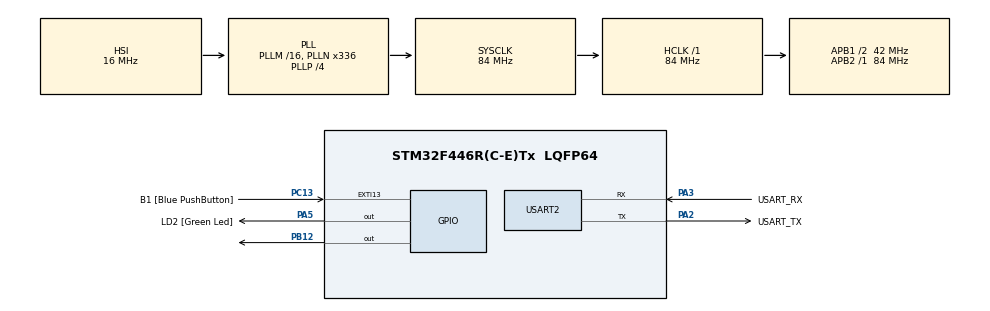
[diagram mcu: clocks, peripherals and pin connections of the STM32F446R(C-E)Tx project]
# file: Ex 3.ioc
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Mcu.Family=STM32F4
Mcu.Name=STM32F446R(C-E)Tx
Mcu.Package=LQFP64
NVIC.EXTI15_10_IRQn=true\:0\:0\:false\:false\:true\:true\:true\:true
NVIC.PriorityGroup=NVIC_PRIORITYGROUP_0
NVIC.TIM2_IRQn=true\:0\:0\:false\:false\:true\:true\:true\:true
PA13.GPIO_Label=TMS
PA13.Mode=Serial_Wire
PA13.Signal=SYS_JTMS-SWDIO
PA14.GPIO_Label=TCK
PA14.Mode=Serial_Wire
PA14.Signal=SYS_JTCK-SWCLK
PA2.GPIO_Label=USART_TX
PA2.Mode=Asynchronous
PA2.Signal=USART2_TX
PA3.GPIO_Label=USART_RX
PA3.Mode=Asynchronous
PA3.Signal=USART2_RX
PA5.GPIO_Label=LD2 [Green Led]
PA5.Signal=GPIO_Output
PB12.Signal=GPIO_Output
PB3.GPIO_Label=SWO
PB3.Signal=SYS_JTDO-SWO
PC13.GPIO_Label=B1 [Blue PushButton]
PC13.GPIO_ModeDefaultEXTI=GPIO_MODE_IT_FALLING
PC13.Signal=GPXTI13
PC14-OSC32_IN.Mode=LSE-External-Oscillator
PC14-OSC32_IN.Signal=RCC_OSC32_IN
PC15-OSC32_OUT.Mode=LSE-External-Oscillator
PC15-OSC32_OUT.Signal=RCC_OSC32_OUT
PH0-OSC_IN.Mode=HSE-External-Oscillator
PH0-OSC_IN.Signal=RCC_OSC_IN
PH1-OSC_OUT.Mode=HSE-External-Oscillator
PH1-OSC_OUT.Signal=RCC_OSC_OUT
ProjectManager.HeapSize=0x200
ProjectManager.StackSize=0x400
ProjectManager.TargetToolchain=STM32CubeIDE
RCC.48MHZClocksFreq_Value=84000000
RCC.AHBFreq_Value=84000000
RCC.APB1CLKDivider=RCC_HCLK_DIV2
RCC.APB1Freq_Value=42000000
RCC.APB1TimFreq_Value=84000000
RCC.APB2Freq_Value=84000000
RCC.APB2TimFreq_Value=84000000
RCC.CortexFreq_Value=84000000
RCC.FLatency-AdvancedSettings=FLASH_LATENCY_2
RCC.HCLKFreq_Value=84000000
RCC.HSE_VALUE=8000000
RCC.HSI_VALUE=16000000
RCC.PLLN=336
RCC.PLLP=RCC_PLLP_DIV4
RCC.SYSCLKFreq_VALUE=84000000
RCC.SYSCLKSource=RCC_SYSCLKSOURCE_PLLCLK
RCC.USBFreq_Value=168000000
RCC.VCOOutputFreq_Value=336000000
TIM2.Period=16800000
USART2.VirtualMode=VM_ASYNC
VP_TIM2_VS_ClockSourceINT.Mode=Internal
board=NUCLEO-F446RE

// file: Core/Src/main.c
/* USER CODE BEGIN Header */
/**
  ******************************************************************************
  * @file           : main.c
  * @brief          : Main program body
  ******************************************************************************
  * @attention
  *
  * Copyright (c) 2025 STMicroelectronics.
  * All rights reserved.
  *
  * This software is licensed under terms that can be found in the LICENSE file
  * in the root directory of this software component.
  * If no LICENSE file comes with this software, it is provided AS-IS.
  *
  ******************************************************************************
  */
/* USER CODE END Header */
#include "main.h"

TIM_HandleTypeDef htim2;

UART_HandleTypeDef huart2;

/* USER CODE BEGIN PV */
uint32_t LED_start_time = 0;
uint8_t LED_flag = 0; // flag to initiate the non blocking delay
/* USER CODE END PV */

void SystemClock_Config(void);
static void MX_GPIO_Init(void);
static void MX_USART2_UART_Init(void);
static void MX_TIM2_Init(void);

/* USER CODE BEGIN 0 */
void myDelay(int input){
	  // delay
	  int millis = 7000 * input;

	  while(millis != 0){
		  millis--;
	  }
}
/* USER CODE END 0 */

int main(void)
{

  /* MCU Configuration--------------------------------------------------------*/

  /* Reset of all peripherals, Initializes the Flash interface and the Systick. */
  HAL_Init();

  /* Configure the system clock */
  SystemClock_Config();

  /* Initialize all configured peripherals */
  MX_GPIO_Init();
  MX_USART2_UART_Init();
  MX_TIM2_Init();
  /* USER CODE BEGIN 2 */
  HAL_TIM_Base_Start_IT(&htim2);
  /* USER CODE END 2 */

  /* Infinite loop */
  while (1)
  {

    /* USER CODE BEGIN 3 */
	if (LED_flag) // check if flag is true
	{
	  if (HAL_GetTick() - LED_start_time >= 500) // check if 500ms has passed
	  {
		HAL_GPIO_WritePin(LD2_GPIO_Port, LD2_Pin, GPIO_PIN_RESET); // LED off
		LED_flag = 0; // reset the flag
	  }
	}
  }
  /* USER CODE END 3 */
}

void SystemClock_Config(void)
{
  RCC_OscInitTypeDef RCC_OscInitStruct = {0};
  RCC_ClkInitTypeDef RCC_ClkInitStruct = {0};

  /** Configure the main internal regulator output voltage
  */
  __HAL_RCC_PWR_CLK_ENABLE();
  __HAL_PWR_VOLTAGESCALING_CONFIG(PWR_REGULATOR_VOLTAGE_SCALE3);

  /** Initializes the RCC Oscillators according to the specified parameters
  * in the RCC_OscInitTypeDef structure.
  */
  RCC_OscInitStruct.OscillatorType = RCC_OSCILLATORTYPE_HSI;
  RCC_OscInitStruct.HSIState = RCC_HSI_ON;
  RCC_OscInitStruct.HSICalibrationValue = RCC_HSICALIBRATION_DEFAULT;
  RCC_OscInitStruct.PLL.PLLState = RCC_PLL_ON;
  RCC_OscInitStruct.PLL.PLLSource = RCC_PLLSOURCE_HSI;
  RCC_OscInitStruct.PLL.PLLM = 16;
  RCC_OscInitStruct.PLL.PLLN = 336;
  RCC_OscInitStruct.PLL.PLLP = RCC_PLLP_DIV4;
  RCC_OscInitStruct.PLL.PLLQ = 2;
  RCC_OscInitStruct.PLL.PLLR = 2;
  if (HAL_RCC_OscConfig(&RCC_OscInitStruct) != HAL_OK)
  {
    Error_Handler();
  }

  /** Initializes the CPU, AHB and APB buses clocks
  */
  RCC_ClkInitStruct.ClockType = RCC_CLOCKTYPE_HCLK|RCC_CLOCKTYPE_SYSCLK
                              |RCC_CLOCKTYPE_PCLK1|RCC_CLOCKTYPE_PCLK2;
  RCC_ClkInitStruct.SYSCLKSource = RCC_SYSCLKSOURCE_PLLCLK;
  RCC_ClkInitStruct.AHBCLKDivider = RCC_SYSCLK_DIV1;
  RCC_ClkInitStruct.APB1CLKDivider = RCC_HCLK_DIV2;
  RCC_ClkInitStruct.APB2CLKDivider = RCC_HCLK_DIV1;

  if (HAL_RCC_ClockConfig(&RCC_ClkInitStruct, FLASH_LATENCY_2) != HAL_OK)
  {
    Error_Handler();
  }
}

static void MX_TIM2_Init(void)
{

  TIM_ClockConfigTypeDef sClockSourceConfig = {0};
  TIM_MasterConfigTypeDef sMasterConfig = {0};

  htim2.Instance = TIM2;
  htim2.Init.Prescaler = 0;
  htim2.Init.CounterMode = TIM_COUNTERMODE_UP;
  htim2.Init.Period = 16800000;
  htim2.Init.ClockDivision = TIM_CLOCKDIVISION_DIV1;
  htim2.Init.AutoReloadPreload = TIM_AUTORELOAD_PRELOAD_DISABLE;
  if (HAL_TIM_Base_Init(&htim2) != HAL_OK)
  {
    Error_Handler();
  }
  sClockSourceConfig.ClockSource = TIM_CLOCKSOURCE_INTERNAL;
  if (HAL_TIM_ConfigClockSource(&htim2, &sClockSourceConfig) != HAL_OK)
  {
    Error_Handler();
  }
  sMasterConfig.MasterOutputTrigger = TIM_TRGO_RESET;
  sMasterConfig.MasterSlaveMode = TIM_MASTERSLAVEMODE_DISABLE;
  if (HAL_TIMEx_MasterConfigSynchronization(&htim2, &sMasterConfig) != HAL_OK)
  {
    Error_Handler();
  }

}

static void MX_USART2_UART_Init(void)
{

  huart2.Instance = USART2;
  huart2.Init.BaudRate = 115200;
  huart2.Init.WordLength = UART_WORDLENGTH_8B;
  huart2.Init.StopBits = UART_STOPBITS_1;
  huart2.Init.Parity = UART_PARITY_NONE;
  huart2.Init.Mode = UART_MODE_TX_RX;
  huart2.Init.HwFlowCtl = UART_HWCONTROL_NONE;
  huart2.Init.OverSampling = UART_OVERSAMPLING_16;
  if (HAL_UART_Init(&huart2) != HAL_OK)
  {
    Error_Handler();
  }

}

static void MX_GPIO_Init(void)
{
  GPIO_InitTypeDef GPIO_InitStruct = {0};

  /* GPIO Ports Clock Enable */
  __HAL_RCC_GPIOC_CLK_ENABLE();
  __HAL_RCC_GPIOH_CLK_ENABLE();
  __HAL_RCC_GPIOA_CLK_ENABLE();
  __HAL_RCC_GPIOB_CLK_ENABLE();

  /*Configure GPIO pin Output Level */
  HAL_GPIO_WritePin(LD2_GPIO_Port, LD2_Pin, GPIO_PIN_RESET);

  /*Configure GPIO pin Output Level */
  HAL_GPIO_WritePin(GPIOB, GPIO_PIN_12, GPIO_PIN_RESET);

  /*Configure GPIO pin : B1_Pin */
  GPIO_InitStruct.Pin = B1_Pin;
  GPIO_InitStruct.Mode = GPIO_MODE_IT_FALLING;
  GPIO_InitStruct.Pull = GPIO_NOPULL;
  HAL_GPIO_Init(B1_GPIO_Port, &GPIO_InitStruct);

  /*Configure GPIO pin : LD2_Pin */
  GPIO_InitStruct.Pin = LD2_Pin;
  GPIO_InitStruct.Mode = GPIO_MODE_OUTPUT_PP;
  GPIO_InitStruct.Pull = GPIO_NOPULL;
  GPIO_InitStruct.Speed = GPIO_SPEED_FREQ_LOW;
  HAL_GPIO_Init(LD2_GPIO_Port, &GPIO_InitStruct);

  /*Configure GPIO pin : PB12 */
  GPIO_InitStruct.Pin = GPIO_PIN_12;
  GPIO_InitStruct.Mode = GPIO_MODE_OUTPUT_PP;
  GPIO_InitStruct.Pull = GPIO_NOPULL;
  GPIO_InitStruct.Speed = GPIO_SPEED_FREQ_LOW;
  HAL_GPIO_Init(GPIOB, &GPIO_InitStruct);

  /* EXTI interrupt init*/
  HAL_NVIC_SetPriority(EXTI15_10_IRQn, 0, 0);
  HAL_NVIC_EnableIRQ(EXTI15_10_IRQn);

}

/* USER CODE BEGIN 4 */
void HAL_GPIO_EXTI_Callback(uint16_t GPIO_Pin){
	if(GPIO_Pin == B1_Pin) // if button pressed
	{
		HAL_GPIO_WritePin(LD2_GPIO_Port, LD2_Pin, GPIO_PIN_SET); // LED on
		LED_start_time = HAL_GetTick(); // save the start time
		LED_flag = 1; // set the flag
	}
}

void HAL_TIM_PeriodElapsedCallback(TIM_HandleTypeDef *htim)
{
	if(htim == &htim2)
	{
		HAL_GPIO_TogglePin(GPIOB, GPIO_PIN_12);		// toggle PB12
	}
}
/* USER CODE END 4 */

void Error_Handler(void)
{
  __disable_irq();
  while (1)
  {
  }
}
